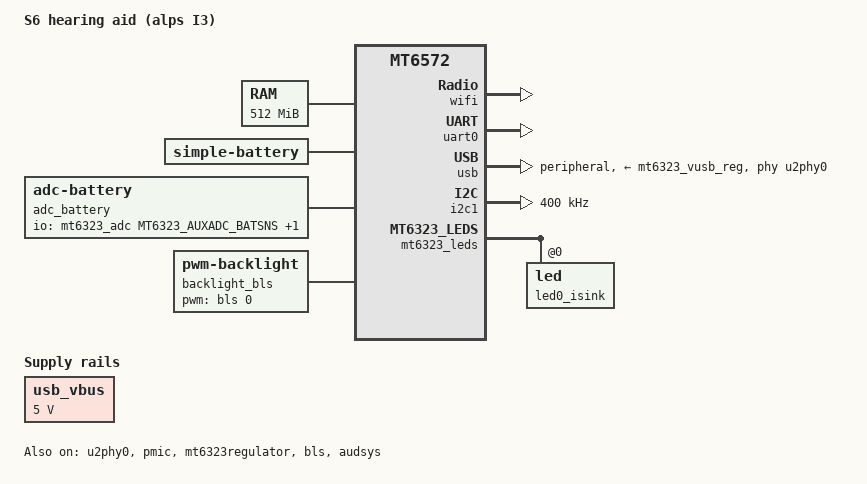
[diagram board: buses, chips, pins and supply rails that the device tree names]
// SPDX-License-Identifier: GPL-2.0
/*
 * S6 smartphone (vendor model "alps I3", device codename s6)
 * Based on mt6572-z1.dts (Z1 hearing-aid bring-up), which is based on
 * mt6572-jty-d101.dts by Max Shevchenko.
 * Same MTK preloader/LK generation as Z1; BOOTIMG partition is 6 MB at
 * scatter address 0x2980000.
 *
 * Minimal bring-up S6 dts: eMMC (mmc0) + UART + USB only.
 *
 * Display: S6 LCD is an MCU parallel panel (gc9307 / nv3029s / st7789v),
 * NOT DSI. Mainline has no MCU-panel driver.
 *
 * simple-framebuffer was RESEARCHED AND LIKELY NEVER VALID here: DSI/DPI
 * panels are continuously DMA-refreshed from a live DRAM surface, which
 * is exactly why Z1's fixed-address handoff works. MCU/8080-parallel
 * panels have their own internal GRAM and are pushed via one-shot burst
 * writes over the MCU/DBI bus (LK's disp_lcm_init/lcm_update); once that
 * burst completes there is no persistent, continuously-refreshed DRAM
 * surface for simple-framebuffer to reference, and nothing keeps driving
 * that memory after LK exits.
 * The chosen framebuffer0 node (Z1's numbers) was REMOVED on 2026-08-30
 * by a correctness audit: it sat at 0xbfd00000, outside the declared
 * 512 MB memory window (0x80000000+0x20000000 -> < 0xA0000000), and with
 * FB_SIMPLE=y + FRAMEBUFFER_CONSOLE=y + console=tty0 the boot-time fbcon
 * would write to non-existent memory -> abort/hang -> panic=10 bootloop.
 * Do NOT re-add any simple-framebuffer node before a real display driver
 * exists. The real fix is CONFIG_FB_MTK or a from-scratch MCU LCM driver
 * ported from the vendor gc9307_mcu_6572_s6_24_hsd / nv3029s_mcu_6572 /
 * st7789v_mcu_6572 sources, issuing MCU-bus writes on each refresh like
 * the vendor driver does.
 *
 * Touch: Focaltech FTS I2C (not Goodix). Intentionally left out / disabled
 * on first boot until the FTS driver node is added after bus probing.
 * Camera SP2519_YUV sensor ignored for now.
 */

/dts-v1/;
#include <dt-bindings/gpio/gpio.h>
#include <dt-bindings/input/input.h>
#include <dt-bindings/leds/common.h>
#include "mt6572.dtsi"
#include "mt6323.dtsi"

/ {
	model = "S6 hearing aid (alps I3)";
	compatible = "alps,s6", "mediatek,mt6572";

	aliases {
		serial0 = &uart0;
	};

	chosen {
		#address-cells = <1>;
		#size-cells = <1>;
		ranges;
		/*
		 * v13.4/s6_v4 corrections (2026-08-29):
		 * - This LK does NOT forward the boot.img header --cmdline
		 *   (Z1 board logs 8/26-27 show the kernel cmdline equals the DT
		 *   bootargs verbatim), so console selection lives HERE.
		 * - The mainline 8250 registers the uart0 OF node as ttyS0
		 *   (alias serial0), not ttyMT0; the earlier ttyMT0 (and the
		 *   bogus ttyACM0, which is a HOST-side gadget name - the device
		 *   side CDC-ACM port is ttyGS0) were never valid console names.
		 *   The last console= wins /dev/console: ttyS0 last so that if an
		 *   S6 UART test point is ever found, the console getty is there;
		 *   the LCD (tty0) also carries the kernel log.
		 */
		bootargs = "console=tty0 console=ttyS0,921600n8 root=/dev/ram panic=10 loglevel=7 clk_ignore_unused regulator_ignore_unused oops=panic sysrq_always_enabled rdinit=/init earlycon=mtk8250,0x11005000";
		/*
		 * Same MTK preloader/LK handoff as Z1: LK relocates the MTK
		 * ROOTFS payload to 0x84100000 and its ATAG_INITRD2 handoff is
		 * not present at runtime, so provide the measured range
		 * explicitly for the packaged logger ramdisk (same ramdisk
		 * payload reused from Z1; end must match its length or the
		 * initrd is truncated).
		 * v13.5/s6_v5: payload is out/ramdisk_v13_5_acm.gz, body
		 * 1,269,042 (0x135d32) bytes -> end = 0x84100000 + 0x135d32.
		 * v13.6/s6_v6 (2026-08-29): payload is out/ramdisk_v13_6_acm.gz
		 * (= v13.5 + pstore mount + previous-crash console-ramoops-0
		 * spool over ACM in /init), body 1,269,732 (0x135fe4) bytes ->
		 * end = 0x84100000 + 0x135fe4 = 0x84235fe4.
		 * v13.7/s6_v7 (2026-08-30): payload is out/ramdisk_v13_7_acm.gz
		 * (= v13.6 with the replay-first timing fix in /init: blocking
		 * pstore/klog replay completes BEFORE the ttyGS0 getty/live-tail
		 * start, so replay bytes can no longer flood the shell stdin;
		 * + stty -echo hardening), body 1,270,523 (0x1362fb) bytes ->
		 * end = 0x84100000 + 0x1362fb = 0x842362fb.
		 * v13.5 (2026-08-29): = v13.4r + klog-over-ACM forwarding — /init
		 * backgrounded setsid mirror: dmesg full ring dump then live
		 * tail -f /proc/kmsg to /dev/ttyGS0 ([klog] banners). This is the
		 * kernel-log channel for S6, which has no UART testpoints.
		 * (v13.4r: same shared payload rebuilt with /init PID1 getty
		 * respawn loop + i2cprobe I2C_SLAVE/EBUSY fixes; see
		 * mt6572-z1.dts payload comment for details.)
		 * (The old 0x841e2810 here was the same stale value Z1 fixed in
		 * v13.1/47fd7e872 - it truncated the initrd and caused gzip
		 * "read error"; never copy a payload length from another image.)
		 */
		linux,initrd-start = <0x84100000>;
		linux,initrd-end = <0x842362fb>;

		/*
		 * s6_v6 fbfix (2026-08-30): the former framebuffer0
		 * (simple-framebuffer @0xbfd00000) was removed here by the
		 * correctness audit -- see the file header comment. It pointed
		 * outside the 512 MB memory window, so boot-time fbcon writes
		 * hit non-existent RAM. No framebuffer node until a real MCU
		 * LCM driver exists.
		 */
	};

	/*
	 * s6_v6 (2026-08-29): declare 512 MB instead of 1 GB. This is both a
	 * HEDGE and a DISCRIMINATOR: the S6 real RAM size was never confirmed
	 * (vendor tree says 512 MB-class boards are common on this chassis),
	 * and declaring less than physical RAM is always safe while declaring
	 * more than physical is fatal (kernel touches unmapped rows -> silent
	 * reset well before userspace, exactly the s6_v5 ~25 s bootloop with
	 * zero USB gadget enumeration). If s6_v6 boots with 0x20000000 here,
	 * the "hardcoded 1 GB" assumption is confirmed as the s6_v5 root
	 * cause; the true size can then be measured upward safely.
	 */
	memory@80000000 {
		device_type = "memory";
		reg = <0x80000000 0x20000000>;
	};

	reserved-memory {
		#address-cells = <1>;
		#size-cells = <1>;
		ranges;

		/*
		 * CONN (WiFi/BT) carveout relocated up to 0xbe000000 so it does
		 * not shadow the low-RAM region LK/preloader uses during early
		 * boot (same workaround as Z1).  Kept as 1 MiB no-map.  If the
		 * CONN MCU misbehaves, revert this carveout AND connsys_pwr
		 * reg[1] together.
		 */
		connsys@be000000 {
			reg = <0xbe000000 0x100000>;
			no-map;
		};

		/*
		 * s6_v6 fbfix (2026-08-30): the former framebuffer_reserved
		 * (@0xbf400000, 12 MiB no-map) was removed together with the
		 * framebuffer0 node by the correctness audit. It was dead
		 * weight (also above the 512 MB window) and must not come back
		 * alongside any simple-framebuffer node.
		 */

		default-pool {
			compatible = "shared-dma-pool";
			size = <0x6000000>;
			alloc-ranges = <0x90000000 0x10000000>;
			reusable;
			linux,cma-default;
		};

		/*
		 * s6_v6 (2026-08-29): ramoops crash black box. S6 has no UART
		 * testpoints and s6_v5 died before userspace, so nothing ever
		 * reached USB. ramoops survives reboots in DRAM and /init
		 * (v13.6) spools console-ramoops-0 out over the ACM gadget on
		 * the NEXT successful boot; it can also be read between boots
		 * with mtkclient `mtk da peek` (see PACKAGE_NOTE_s6_v6.md).
		 *
		 * Region choice: 0x86000000..0x86100000 avoids the kernel
		 * (0x80008000+), the initrd (0x84100000-0x84235dxx) and stays
		 * inside the (hedge-safe) 512 MB window (< 0xA0000000), so it
		 * is mapped even if S6 only has 512 MB. All PSTORE* configs
		 * are already =y; only this node was missing.
		 */
		ramoops@86000000 {
			compatible = "ramoops";
			reg = <0x86000000 0x100000>;
			record-size  = <0x20000>;
			console-size = <0x80000>;
			pmsg-size = <0x10000>;
			ecc-size = <16>;
		};
	};

	/*
	 * CONN (WiFi/BT) subsystem consumer binding the in-tree driver
	 * drivers/soc/mediatek/mtk6572-connsys.c. Kept status="disabled"
	 * (connsys disabled state) until board bring-up is gated-tested;
	 * keep the 1 MiB reserved-memory carveout above mapped when enabling.
	 */
	connsys_pwr: connsys@18070000 {
		compatible = "mediatek,mt6572-connsys";
		reg = <0x18070000 0x1000>,
		      <0xbe080000 0x55c00>;	/* CONN MCU config + shared EMI */
		power-domains = <&spm MT6572_POWER_DOMAIN_CONN>;
		vcn18-supply = <&mt6323_vcn18_reg>;
		vcn28-supply = <&mt6323_vcn28_reg>;
		vcn33_bt-supply = <&mt6323_vcn33_bt_reg>;
		vcn33_wifi-supply = <&mt6323_vcn33_wifi_reg>;
		status = "disabled";
	};

	/*
	 * CONNSYS out-of-tree stack DT nodes (mt6572-connsys-modules, forward
	 * port of the vendor conn_soc family), same as Z1:
	 *   btif@1100e000      -> mtk_btif_drv.ko  ("mediatek,btif")
	 *   connectivity@18070000 -> mtk_stp_wmt_soc.ko / mtk_wmt_wifi_soc.ko
	 *                        ("mediatek,mt6572-consys")
	 *   wifi@180f0000      -> wlan_gen2.ko     ("mediatek,wifi")
	 *
	 * IRQ numbers are the vendor MT6572 GIC SPI IDs: BTIF=52,
	 * APDMA-BTIF-TX=41, APDMA-BTIF-RX=42, CONN2AP/BTIF-wakeup=122,
	 * WF_HIF=123, CONN_WDT=124.
	 *
	 * The old in-tree connsys_pwr node above stays disabled: it must not
	 * double-power the CONN domain / regulators with this stack.
	 */
	btif: btif@1100e000 {
		compatible = "mediatek,btif";
		#address-cells = <1>;
		#size-cells = <1>;
		/*
		 * ranges needed: btif_rx/btif_tx child nodes are of_iomap'd by
		 * the vendor driver. Empty ranges = 1:1 translation.
		 */
		ranges;
		reg = <0x1100e000 0x1000>,
		      <0x11000380 0x80>,
		      <0x11000400 0x80>;
		interrupts = <GIC_SPI 52 IRQ_TYPE_LEVEL_LOW>;
		clocks = <&topckgen CLK_TOP_BTIF>,
			 <&topckgen CLK_TOP_APDMA>;
		clock-names = "btifc", "apdmac";

		btif_tx: btif_tx@11000380 {
			compatible = "mediatek,btif_tx";
			reg = <0x11000380 0x80>;
			interrupts = <GIC_SPI 41 IRQ_TYPE_LEVEL_LOW>;
		};

		btif_rx: btif_rx@11000400 {
			compatible = "mediatek,btif_rx";
			reg = <0x11000400 0x80>;
			interrupts = <GIC_SPI 42 IRQ_TYPE_LEVEL_LOW>;
		};
	};

	connectivity: connectivity@18070000 {
		compatible = "mediatek,mt6572-consys";
		/*
		 * reg[0] = CONN MCU config (chip ID poll @ +0x8, expects 0x6572).
		 * reg[1] = TOPCKGEN block base: the driver pokes AP2CONN_OSC_EN
		 * at base+0x1800 (phys 0x10001800).
		 */
		reg = <0x18070000 0x1000>,
		      <0x10000000 0x2000>;
		interrupts = <GIC_SPI 122 IRQ_TYPE_LEVEL_LOW>,	/* CONN2AP / BTIF wakeup */
			     <GIC_SPI 124 IRQ_TYPE_LEVEL_LOW>;	/* CONN WDT */
		mediatek,pwrap-regmap = <&pwrap>;
		power-domains = <&spm MT6572_POWER_DOMAIN_CONN>;
		resets = <&watchdog MT6572_TOPRGU_CONNSYS_SW_RST>;
		reset-names = "connsys";
		vcn18-supply = <&mt6323_vcn18_reg>;
		vcn28-supply = <&mt6323_vcn28_reg>;
		vcn33_bt-supply = <&mt6323_vcn33_bt_reg>;
		vcn33_wifi-supply = <&mt6323_vcn33_wifi_reg>;
	};

	wifi: wifi@180f0000 {
		compatible = "mediatek,wifi";
		reg = <0x180f0000 0x1000>;
		interrupts = <GIC_SPI 123 IRQ_TYPE_LEVEL_LOW>;
	};

	/*
	 * Audio front-end (AFE), physical base 0x11140000 (MT6572 audsys).
	 * Binds sound/soc/mediatek/mt6572/mt6572-afe-pcm.c. Same state as Z1:
	 * IRQ is an unverified placeholder until confirmed for this board.
	 */
	audsys: audio@11140000 {
		compatible = "mediatek,mt6572-audio";
		reg = <0x11140000 0x600>;
		clocks = <&topckgen CLK_TOP_AUDIO>,
			 <&topckgen CLK_TOP_AUDIO_INTBUS_SEL>;
		clock-names = "audio", "audio_intbus_sel";
		interrupts = <GIC_SPI 0 IRQ_TYPE_LEVEL_HIGH>; /* TODO: real MT6572 ASYS/AFE IRQ */
		status = "okay";
	};

	/*
	 * Machine sound card (mt6572-machine.c) wiring AFE to the MT6323 PMIC
	 * codec. Requires CONFIG_SND_SOC_MT6572 + codec module and lifted
	 * pwrap write-deny before it can actually probe; parses cleanly
	 * meanwhile.
	 */
	sound: sound {
		compatible = "mediatek,mt6572-sound";
		mediatek,platform = <&audsys>;
		mediatek,audio-codec = <&codec>;
		status = "okay";
	};

	/*
	 * Battery monitoring: static pack characteristics + ADC-backed meter.
	 * Values are the generic Li-ion placeholder carried over from Z1 --
	 * TBC against the real S6 battery on first physical measurement.
	 * adc_battery stays dependent on CONFIG_POWER_SUPPLY /
	 * GENERIC_ADC_BATTERY / MEDIATEK_MT6323_AUXADC like Z1.
	 */
	battery: battery {
		compatible = "simple-battery";
		charge-full-design-microamp-hours = <2000000>; /* TBC: S6 pack */
		voltage-max-design-microvolt = <4200000>;
		voltage-min-design-microvolt = <3300000>;
		status = "okay";
	};

	adc_battery: adc-battery {
		compatible = "adc-battery";
		io-channels = <&mt6323_adc MT6323_AUXADC_BATSNS>,
			      <&mt6323_adc MT6323_AUXADC_BAT_TEMP>;
		io-channel-names = "voltage", "temperature";
		monitored-battery = <&battery>;
		status = "okay";
	};

	/*
	 * USB VBUS supply (fixed regulator, always-on). S6 operates as a USB
	 * device (gadget) like Z1; the PHY needs a VBUS supply reference so
	 * the MUSB glue does not defer probe waiting for a regulator.
	 */
	usb_vbus: regulator-usb-vbus {
		compatible = "regulator-fixed";
		regulator-name = "usb-vbus";
		regulator-min-microvolt = <5000000>;
		regulator-max-microvolt = <5000000>;
		regulator-always-on;
	};

	/*
	 * Backlight route 1 (BLS/disp-PWM): the MT6572 display-block PWM
	 * (bls node in mt6572.dtsi, compatible mediatek,mt2701-disp-pwm).
	 * On the vendor reference platform the LCD backlight is driven from
	 * the BLS. This node is the active route; the ISINK route below is
	 * disabled for now to avoid two /sys/class/backlight entries.
	 */
	backlight_bls: backlight-bls {
		compatible = "pwm-backlight";
		pwms = <&bls 0 100000>;
		brightness-levels = <0 32 64 128 192 255>;
		default-brightness-level = <5>;
		status = "okay";
	};

	/*
	 * Backlight route 2 (PMIC ISINK): some MT6572 boards source the LCD
	 * backlight current from an MT6323 ISINK channel instead of the BLS.
	 * leds-mt6323 registers led@0 below; this node wraps it into
	 * /sys/class/backlight via led_bl.c (CONFIG_BACKLIGHT_LED).
	 *
	 * CURRENTLY DISABLED: pwm-backlight and led-backlight would both
	 * claim /sys/class/backlight. To switch routes on-board:
	 *   1. set backlight_bls above to status = "disabled"
	 *   2. set this node to status = "okay"
	 */
	backlight_isink: backlight-isink {
		compatible = "led-backlight";
		leds = <&led0_isink>;
		status = "disabled";
	};
};

&uart0 {
	status = "okay";
};

&usb {
	status = "okay";
	dr_mode = "peripheral";  /* S6 acts as USB device (gadget); never host */
	/*
	 * Same reasoning as Z1: explicit vbus-supply keeps the MUSB glue from
	 * deferring probe; the PHY driver forces the VBUS comparator on via
	 * software. HS slew-rate calibration may timeout and fall back.
	 */
	phys = <&u2phy0>;
	phy-names = "usb2";
	vbus-supply = <&mt6323_vusb_reg>;
};

&u2phy0 {
	status = "okay";
	/* reg and #phy-cells come from the base dtsi; nothing extra needed. */
};

/*
 * PMIC subsystem bring-up (post eMMC): MT6323 MFD exposes power key, RTC
 * and regulators. LK already leaves VEMC/VIO18 powered. PMIC_EINT is GPIO7
 * (same wiring assumption as Z1; TBC on S6 schematic).
 */
&pmic {
	pinctrl-0 = <&pmic_int_pins>;
	pinctrl-names = "default";
	interrupts-extended = <&pio 7 IRQ_TYPE_LEVEL_HIGH>;
	status = "okay";
};

&mt6323regulator {
	status = "okay";
};

/*
 * Zero-consumer regulator traps (same as Z1): without always-on, regulator
 * late-cleanup powers vemc/vmc/vmch/vusb off ~39.5s into boot and the board
 * resets in a preloader reboot loop. Keep all four held up.
 */
&mt6323_vemc3v3_reg {
	regulator-always-on;
};

&mt6323_vmc_reg {
	regulator-always-on;
};

&mt6323_vmch_reg {
	regulator-always-on;
};

&mt6323_vusb_reg {
	regulator-always-on;
};

/*
 * PMIC keys. The power key (KEY_POWER) is S6's only physical button and
 * stays enabled. Disable the PMIC "home" key (KEY_VOLUMEDOWN): there is
 * no PMIC home key on this device, and volume-down will be reported by
 * the Focaltech touchscreen virtual keys once those are enabled.
 */
&mt6323keys {
	power-off-time-sec = <5>;
	home {
		status = "disabled";
	};
};

&pwrap {
	assigned-clocks = <&topckgen CLK_TOP_PMIC_SPI_SEL>;
	assigned-clock-parents = <&uart_clk>;
};

&mmc0 {
	compatible = "mediatek,mt6572-mmc",
		     "mediatek,mt7623-mmc",
		     "mediatek,mt2701-mmc";
	pinctrl-0 = <&mmc0_pins>;
	pinctrl-names = "default";
	bus-width = <1>;
	max-frequency = <50000000>;
	no-sd;
	no-sdio;
	non-removable;
	/*
	 * s6_v6 (2026-08-29): DISABLED to isolate variables. The mtk-sd
	 * driver gates its probe on of_machine_is_compatible("jbo,z1"), which
	 * is false on S6 ("alps,s6"), so mmc0 probe would fail/defer here and
	 * pollute the crash investigation. TODO: fix the machine-compat gate
	 * in the driver (accept S6), then re-enable this node.
	 */
	status = "disabled";
};

&pio {
	pmic_int_pins: pmic-int-pins {
		pins {
			pinmux = <MT6572_PIN_7_PMIC_EINT__FUNC_PMIC_EINT>;
			input-enable;
			bias-pull-down;
		};
	};

	pwrap_pins: pwrap-pins {
		pins {
			pinmux = <MT6572_PIN_8_PMIC_SPI_CSN__FUNC_PMIC_SPI_CSN>,
				 <MT6572_PIN_9_PMIC_SPI_SCK__FUNC_PMIC_SPI_SCK>,
				 <MT6572_PIN_10_PMIC_SPI_MOSI__FUNC_PMIC_SPI_MOSI>,
				 <MT6572_PIN_11_PMIC_SPI_MISO__FUNC_PMIC_SPI_MISO>;
		};
	};

	i2c1_pins: i2c1-pins {
		pins {
			pinmux = <MT6572_PIN_113_SCL_1_0__FUNC_SCL_1_0>,
				 <MT6572_PIN_114_SDA_1_0__FUNC_SDA_1_0>;
		};
	};

	/* Pin mux/pads copied from the Z1-validated eMMC setup (6 mA drive);
	 * TBC against S6 schematic, but same MT6572 eMMC controller wiring
	 * is expected on this platform. */
	mmc0_pins: mmc0-pins {

		pins-clk {
			pinmux = <MT6572_PIN_44_MC0_CK__FUNC_MC0_CK>;
			bias-pull-down = <MTK_PUPD_SET_R1R0_10>;
			drive-strength = <6>;
		};

		pins-cmd-dat {
			pinmux = <MT6572_PIN_45_MC0_CMD__FUNC_MC0_CMD>,
				 <MT6572_PIN_46_MC0_DAT0__FUNC_MC0_DAT0>;
			input-enable;
			bias-pull-up = <MTK_PUPD_SET_R1R0_01>;
			drive-strength = <6>;
		};

		/* Keep eMMC RST_n deasserted. Pin 54 is PULLSEL-type on
		 * MT6572 (not R1R0), so use plain bias-pull-up. */
		pins-rst {
			pinmux = <MT6572_PIN_54_MC0_RSTB__FUNC_MC0_RSTB>;
			bias-pull-up;
		};
	};
};

/*
 * S6 buttons -- actual layout (no matrix keypad on this board):
 *
 * Physical: power key ONLY, via the MT6323 PMIC (mt6323keys above,
 * KEY_POWER). No hardware keypad matrix exists on S6, so the base
 * mt6572.dtsi "keyboard" node is left at its default status="disabled"
 * and no &keyboard override is provided here.
 *
 * Virtual keys (Android style), reported by the Focaltech FTS
 * touchscreen driver once it is enabled -- NOT a hardware matrix:
 *   - volume up
 *   - volume down
 *   - home (Android nav bar style)
 *   - two audio-specific touch keys
 *
 * TODO (future work): enable the FTS touchscreen node under i2c1 with a
 * proper virtual-key keymap (linux,keymap / focaltech,virtualkey data)
 * after the controller instance is identified from I2C probing or the
 * vendor kernel.
 */

/*
 * I2C1 kept enabled with pads muxed for the future Focaltech FTS touch
 * node. S6 touch is FTS over I2C (controller address/wake/reset GPIOs not
 * yet captured from the vendor kernel) -- deliberately NO touchscreen
 * child node on first boot; add the fts node after an I2C1 scan or vendor
 * kernel evidence identifies the exact controller instance.
 */
&i2c1 {
	status = "okay";
	pinctrl-0 = <&i2c1_pins>;
	pinctrl-names = "default";
	clock-frequency = <400000>;
};

/*
 * Display backlight PWM (BLS), mediatek,mt2701-disp-pwm. Enabled so the
 * pwm-backlight node in the root can bind; on vendor S6 reference designs
 * the LCD backlight is driven from here.
 */
&bls {
	status = "okay";
};

/*
 * MT6323 PMIC ISINK LEDs. led@0 = LCD backlight current source on the
 * vendor reference board. Kept enabled alongside the BLS route: registering
 * the LED itself is harmless while backlight_isink stays disabled; if the
 * BLS route turns out wrong on-board, flip the two backlight nodes'
 * statuses (see comments in the root node).
 * Binding reference: mt6572-prestigio-pap5500-duo.dts, leds-mt6323.c.
 * TBC: which ISINK channel actually feeds the S6 backlight (0 assumed).
 */
&mt6323_leds {
	status = "okay";

	led0_isink: led@0 {
		reg = <0>;
		function = LED_FUNCTION_BACKLIGHT;
		color = <LED_COLOR_ID_WHITE>;
		default-state = "off";
	};
};
